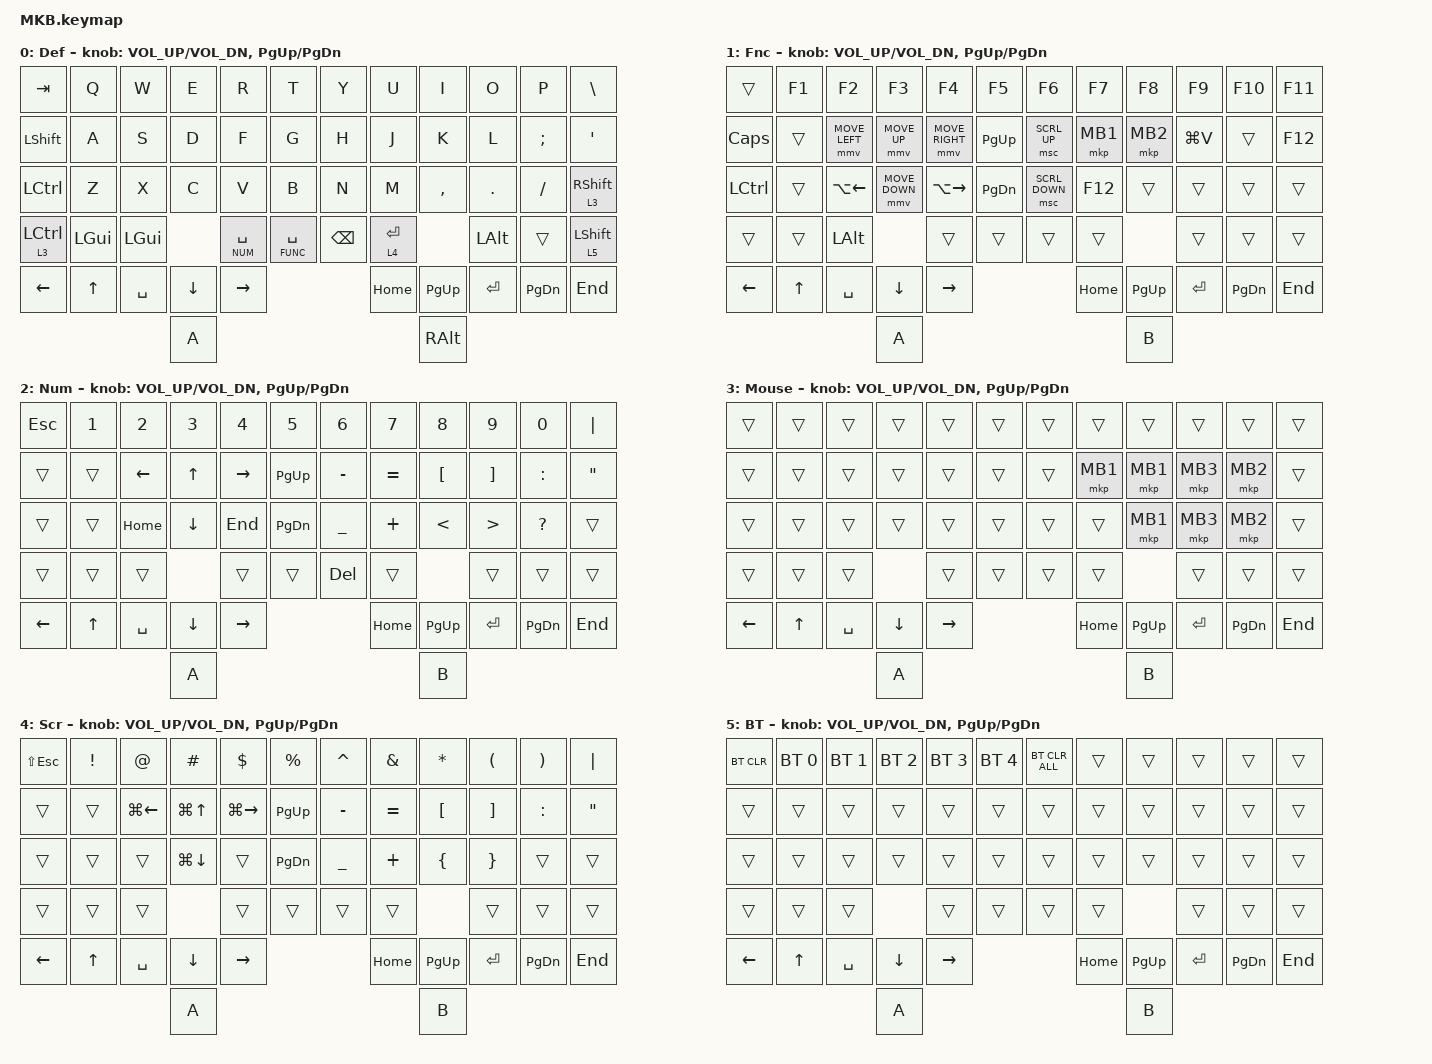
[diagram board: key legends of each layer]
// #include <layout_shift.dtsi>

#include <layout_shift_kp_override.dtsi>
#include <behaviors.dtsi>
#include <dt-bindings/zmk/bt.h>
#include <dt-bindings/zmk/keys.h>
#include <dt-bindings/zmk/pointing.h>

#define DEF 0
#define FUNC 1
#define NUM 2
#define MOUSE 3
#define SCROLL 4
#define BT 5

&mt {
    flavor = "balanced";
    tapping-term-ms = <280>;
    quick-tap-ms = <175>;
    require-prior-idle-ms = <150>;
};

/ {
    keymap {
        compatible = "zmk,keymap";

        default_layer {
            label = "Def";
            bindings = <
&kp TAB           &kp Q     &kp W      &kp E     &kp R          &kp T               &kp Y          &kp U        &kp I          &kp O      &kp P      &kp BSLH
&kp LEFT_SHIFT    &kp A     &kp S      &kp D     &kp F          &kp G               &kp H          &kp J        &kp K          &kp L      &kp SEMI   &kp SQT
&kp LEFT_CONTROL  &kp Z     &kp X      &kp C     &kp V          &kp B               &kp N          &kp M        &kp COMMA      &kp DOT    &kp FSLH   &lt 3 RIGHT_SHIFT
&lt 3 LCTRL       &kp LGUI  &kp LGUI             &lt NUM SPACE  &lt FUNC SPACE      &kp BACKSPACE  &lt 4 ENTER                 &kp LALT   &trans     &lt 5 LEFT_SHIFT
&kp LEFT          &kp UP    &kp SPACE  &kp DOWN  &kp RIGHT                                         &kp HOME     &kp PG_UP      &kp ENTER  &kp PG_DN  &kp END
                                       &kp A                                                                    &kp RIGHT_ALT
            >;

            sensor-bindings = <&inc_dec_kp C_VOL_UP C_VOL_DN &inc_dec_kp PG_UP PG_DN>;
        };

        function_layer {
            label = "Fnc";
            bindings = <
&trans        &kp F1  &kp F2          &kp F3          &kp F4           &kp F5             &kp F6          &kp F7    &kp F8     &kp F9     &kp F10    &kp F11
&kp CAPSLOCK  &trans  &mmv MOVE_LEFT  &mmv MOVE_UP    &mmv MOVE_RIGHT  &kp PAGE_UP        &msc SCRL_UP    &mkp MB1  &mkp MB2   &kp LG(V)  &trans     &kp F12
&kp LCTRL     &trans  &kp LA(LEFT)    &mmv MOVE_DOWN  &kp LA(RIGHT)    &kp PAGE_DOWN      &msc SCRL_DOWN  &kp F12   &trans     &trans     &trans     &trans
&trans        &trans  &kp LALT                        &trans           &trans             &trans          &trans               &trans     &trans     &trans
&kp LEFT      &kp UP  &kp SPACE       &kp DOWN        &kp RIGHT                                           &kp HOME  &kp PG_UP  &kp ENTER  &kp PG_DN  &kp END
                                      &kp A                                                                         &kp B
            >;

            sensor-bindings = <&inc_dec_kp C_VOL_UP C_VOL_DN &inc_dec_kp PG_UP PG_DN>;
        };

        num_layer {
            label = "Num";
            bindings = <
&kp ESCAPE  &kp N1  &kp N2     &kp N3        &kp N4     &kp N5             &kp N6      &kp N7     &kp N8         &kp N9            &kp N0        &kp PIPE
&trans      &trans  &kp LEFT   &kp UP_ARROW  &kp RIGHT  &kp PAGE_UP        &kp MINUS   &kp EQUAL  &kp LBKT       &kp RBKT          &kp COLON     &kp DOUBLE_QUOTES
&trans      &trans  &kp HOME   &kp DOWN      &kp END    &kp PAGE_DOWN      &kp UNDER   &kp PLUS   &kp LESS_THAN  &kp GREATER_THAN  &kp QUESTION  &trans
&trans      &trans  &trans                   &trans     &trans             &kp DELETE  &trans                    &trans            &trans        &trans
&kp LEFT    &kp UP  &kp SPACE  &kp DOWN      &kp RIGHT                                 &kp HOME   &kp PG_UP      &kp ENTER         &kp PG_DN     &kp END
                               &kp A                                                              &kp B
            >;

            sensor-bindings = <&inc_dec_kp C_VOL_UP C_VOL_DN &inc_dec_kp PG_UP PG_DN>;
        };

        mouse_layer {
            label = "Mouse";
            bindings = <
&trans    &trans  &trans     &trans    &trans     &trans      &trans  &trans    &trans     &trans     &trans     &trans
&trans    &trans  &trans     &trans    &trans     &trans      &trans  &mkp MB1  &mkp MB1   &mkp MB3   &mkp MB2   &trans
&trans    &trans  &trans     &trans    &trans     &trans      &trans  &trans    &mkp MB1   &mkp MB3   &mkp MB2   &trans
&trans    &trans  &trans               &trans     &trans      &trans  &trans               &trans     &trans     &trans
&kp LEFT  &kp UP  &kp SPACE  &kp DOWN  &kp RIGHT                      &kp HOME  &kp PG_UP  &kp ENTER  &kp PG_DN  &kp END
                             &kp A                                              &kp B
            >;

            sensor-bindings = <&inc_dec_kp C_VOL_UP C_VOL_DN &inc_dec_kp PG_UP PG_DN>;
        };

        shift_nam_layer {
            label = "Scr";
            bindings = <
&kp LS(ESCAPE)  &kp EXCLAMATION  &kp AT_SIGN         &kp HASH            &kp DOLLAR     &kp PERCENT        &kp CARET       &kp AMPERSAND  &kp ASTERISK      &kp LEFT_PARENTHESIS  &kp RIGHT_PARENTHESIS  &kp PIPE
&trans          &trans           &kp LG(LEFT_ARROW)  &kp LG(UP_ARROW)    &kp LG(RIGHT)  &kp PAGE_UP        &kp MINUS       &kp EQUAL      &kp LEFT_BRACKET  &kp RIGHT_BRACKET     &kp COLON              &kp DOUBLE_QUOTES
&trans          &trans           &trans              &kp LG(DOWN_ARROW)  &trans         &kp PAGE_DOWN      &kp UNDERSCORE  &kp PLUS       &kp LEFT_BRACE    &kp RIGHT_BRACE       &trans                 &trans
&trans          &trans           &trans                                  &trans         &trans             &trans          &trans                           &trans                &trans                 &trans
&kp LEFT        &kp UP           &kp SPACE           &kp DOWN            &kp RIGHT                                         &kp HOME       &kp PG_UP         &kp ENTER             &kp PG_DN              &kp END
                                                     &kp A                                                                                &kp B
            >;

            sensor-bindings = <&inc_dec_kp C_VOL_UP C_VOL_DN &inc_dec_kp PG_UP PG_DN>;
        };

        bt_layer {
            label = "BT";
            bindings = <
&bt BT_CLR  &bt BT_SEL 0  &bt BT_SEL 1  &bt BT_SEL 2  &bt BT_SEL 3  &bt BT_SEL 4      &bt BT_CLR_ALL  &trans    &trans     &trans     &trans     &trans
&trans      &trans        &trans        &trans        &trans        &trans            &trans          &trans    &trans     &trans     &trans     &trans
&trans      &trans        &trans        &trans        &trans        &trans            &trans          &trans    &trans     &trans     &trans     &trans
&trans      &trans        &trans                      &trans        &trans            &trans          &trans               &trans     &trans     &trans
&kp LEFT    &kp UP        &kp SPACE     &kp DOWN      &kp RIGHT                                       &kp HOME  &kp PG_UP  &kp ENTER  &kp PG_DN  &kp END
                                        &kp A                                                                   &kp B
            >;

            sensor-bindings = <&inc_dec_kp C_VOL_UP C_VOL_DN &inc_dec_kp PG_UP PG_DN>;
        };
    };
};
